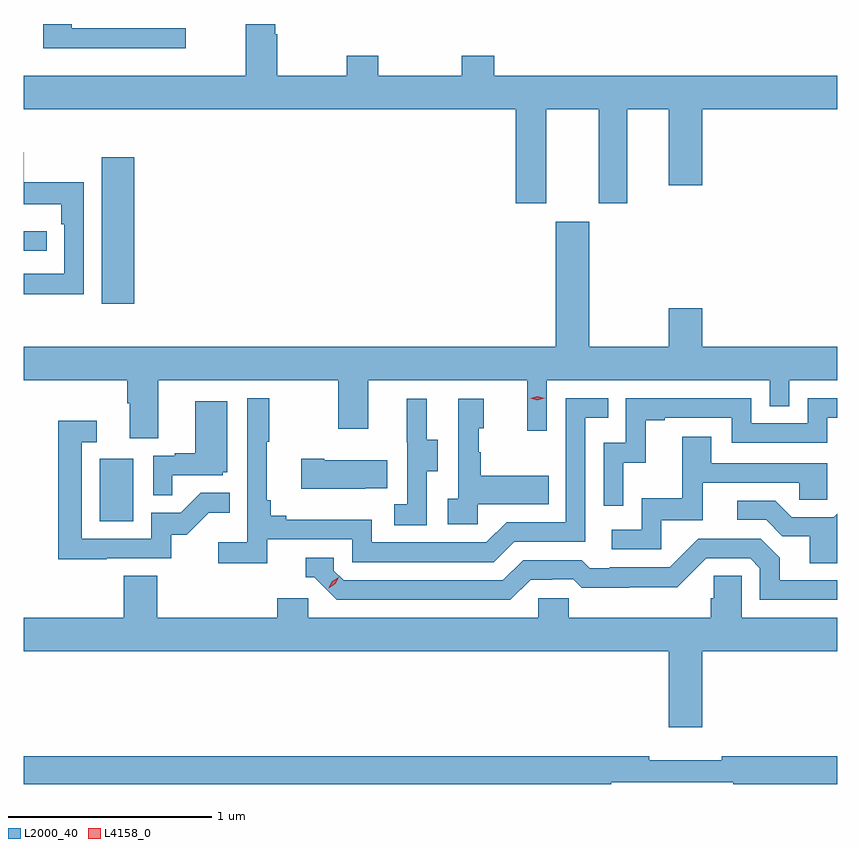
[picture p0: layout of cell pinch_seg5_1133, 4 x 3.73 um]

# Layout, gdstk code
import gdstk
lib = gdstk.Library(unit=1e-6, precision=1e-09)
def R(c, l, rs):  # rectangles x0, y0, x1, y1
    for r in rs: c.add(gdstk.rectangle(r[:2], r[2:], *l))
def P(c, l, *ps):  # polygons
    for p in ps: c.add(gdstk.Polygon(p, *l))
L2000_40 = (2000, 40)
L4158_0 = (4158, 0)

pinch_seg5_1133 = lib.new_cell('pinch_seg5_1133')
R(pinch_seg5_1133, L2000_40, [(821.552,840.084,821.716,840.391), (821.561,841.152,821.722,841.873), (821.177,841.413,821.29,841.509)])
P(pinch_seg5_1133, L2000_40, [(823.747,842.108),(824.003,842.108),(824.003,841.647),(824.143,841.647),(824.143,842.108),(824.348,842.108),(824.348,841.734),(824.512,841.734),(824.512,842.108),(825.177,842.108),(825.177,842.272),(823.49,842.272),(823.49,842.371),(823.33,842.371),(823.33,842.272),(822.921,842.272),(822.921,842.371),(822.766,842.371),(822.766,842.272),(822.423,842.272),(822.423,842.477),(822.415,842.477),(822.415,842.527),(822.268,842.527),(822.268,842.272),(821.177,842.272),(821.177,842.108),(823.595,842.108),(823.595,841.647),(823.747,841.647)],
  [(821.974,842.505),(821.413,842.505),(821.413,842.527),(821.273,842.527),(821.273,842.408),(821.974,842.408)],
  [(821.472,841.75),(821.179,841.75),(821.179,841.896),(821.177,841.896),(821.177,841.64),(821.363,841.64),(821.363,841.544),(821.376,841.544),(821.376,841.299),(821.177,841.299),(821.177,841.198),(821.472,841.198)],
  [(821.839,840.776),(822.724,840.776),(822.724,840.537),(822.871,840.537),(822.871,840.776),(823.652,840.776),(823.652,840.528),(823.749,840.528),(823.749,840.776),(824.844,840.776),(824.844,840.649),(824.94,840.649),(824.94,840.776),(825.177,840.776),(825.177,840.94),(824.512,840.94),(824.512,841.129),(824.348,841.129),(824.348,840.94),(823.957,840.94),(823.957,841.555),(823.793,841.555),(823.793,840.94),(821.177,840.94),(821.177,840.776),(821.687,840.776),(821.687,840.664),(821.699,840.664),(821.699,840.49),(821.839,840.49)],
  [(822.374,839.994),(822.792,839.994),(822.792,839.883),(823.489,839.883),(823.588,839.982),(823.938,839.982),(823.938,840.591),(824.051,840.591),(824.051,840.687),(823.842,840.687),(823.842,840.078),(823.551,840.078),(823.452,839.979),(822.888,839.979),(822.888,840.091),(822.469,840.091),(822.469,840.11),(822.392,840.11),(822.392,840.187),(822.373,840.187),(822.373,840.475),(822.385,840.475),(822.385,840.688),(822.276,840.688),(822.276,839.98),(822.135,839.98),(822.135,839.878),(822.374,839.878)],
  [(824.124,840.371),(824.234,840.371),(824.234,840.579),(824.329,840.579),(824.329,840.591),(824.658,840.591),(824.658,840.468),(825.126,840.468),(825.126,840.591),(825.177,840.591),(825.177,840.687),(825.03,840.687),(825.03,840.564),(824.754,840.564),(824.754,840.687),(824.136,840.687),(824.136,840.468),(824.028,840.468),(824.028,840.159),(824.124,840.159)],
  [(823.158,840.328),(823.213,840.328),(823.213,840.483),(823.159,840.483),(823.159,840.685),(823.061,840.685),(823.061,840.471),(823.062,840.471),(823.062,840.167),(822.999,840.167),(822.999,840.064),(823.158,840.064)],
  [(823.41,840.167),(823.757,840.167),(823.757,840.307),(823.423,840.307),(823.423,840.422),(823.413,840.422),(823.413,840.54),(823.438,840.54),(823.438,840.685),(823.314,840.685),(823.314,840.194),(823.263,840.194),(823.263,840.069),(823.41,840.069)],
  [(821.909,840.309),(822.156,840.309),(822.156,840.324),(822.178,840.324),(822.178,840.673),(822.02,840.673),(822.02,840.418),(821.921,840.418),(821.921,840.405),(821.814,840.405),(821.814,840.211),(821.909,840.211)],
  [(821.585,839.901),(821.904,839.901),(821.904,840.018),(821.98,840.018),(822.087,840.125),(822.191,840.125),(822.191,840.224),(822.047,840.224),(821.949,840.126),(821.805,840.126),(821.805,839.997),(821.463,839.997),(821.463,840.471),(821.536,840.471),(821.536,840.577),(821.347,840.577),(821.347,839.896),(821.585,839.896)],
  [(824.31,840.087),(824.515,840.087),(824.515,840.273),(824.989,840.273),(824.989,840.189),(825.126,840.189),(825.126,840.369),(824.557,840.369),(824.557,840.499),(824.413,840.499),(824.413,840.196),(824.214,840.196),(824.214,840.042),(824.067,840.042),(824.067,839.946),(824.31,839.946)],
  [(822.857,840.245),(822.965,840.245),(822.965,840.382),(822.655,840.382),(822.655,840.39),(822.543,840.39),(822.543,840.242),(822.857,840.242)],
  [(825.177,840.12),(825.159,840.102),(824.953,840.102),(824.872,840.183),(824.685,840.183),(824.685,840.09),(824.826,840.09),(824.906,840.01),(825.041,840.01),(825.041,839.878),(825.177,839.878)],
  [(823.669,839.796),(823.776,839.796),(823.776,839.799),(823.879,839.799),(823.921,839.757),(824.154,839.757),(824.154,839.759),(824.39,839.759),(824.532,839.901),(824.748,839.901),(824.796,839.853),(824.796,839.697),(825.177,839.697),(825.177,839.793),(824.893,839.793),(824.893,839.903),(824.799,839.997),(824.493,839.997),(824.352,839.856),(824.059,839.856),(824.059,839.853),(823.96,839.853),(823.921,839.892),(823.632,839.892),(823.533,839.793),(822.75,839.793),(822.702,839.841),(822.702,839.904),(822.563,839.904),(822.563,839.808),(822.606,839.808),(822.717,839.697),(823.57,839.697)],
  [(823.857,839.706),(823.707,839.706),(823.707,839.608),(822.576,839.608),(822.576,839.706),(822.425,839.706),(822.425,839.608),(821.834,839.608),(821.834,839.816),(821.669,839.816),(821.669,839.608),(821.177,839.608),(821.177,839.444),(824.348,839.444),(824.348,839.07),(824.512,839.07),(824.512,839.444),(825.177,839.444),(825.177,839.608),(824.706,839.608),(824.706,839.816),(824.569,839.816),(824.569,839.706),(824.555,839.706),(824.555,839.608),(823.857,839.608)],
  [(824.066,838.8),(824.666,838.8),(824.666,838.792),(825.177,838.792),(825.177,838.928),(824.608,838.928),(824.608,838.909),(824.252,838.909),(824.252,838.928),(821.177,838.928),(821.177,838.792),(824.066,838.792)])
P(pinch_seg5_1133, L4158_0, [(823.702,840.678),(823.666,840.688),(823.666,840.688),(823.666,840.688),(823.702,840.698),(823.738,840.688),(823.738,840.688),(823.738,840.688)],
  [(822.678,839.755),(822.678,839.756),(822.694,839.788),(822.725,839.808),(822.725,839.808),(822.725,839.808),(822.709,839.775),(822.678,839.755)])

lib.write_gds('pinch_seg5_1133.gds')
